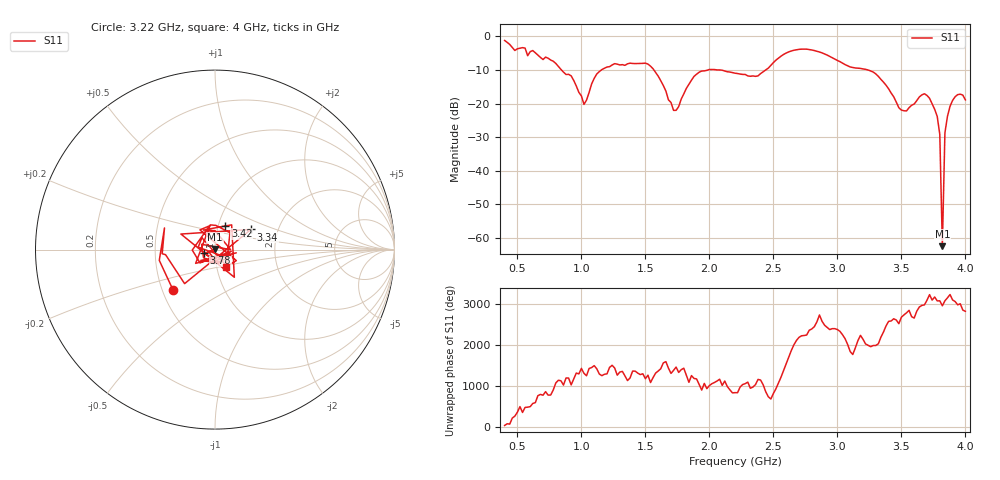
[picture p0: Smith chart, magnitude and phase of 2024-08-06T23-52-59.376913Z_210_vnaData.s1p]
!Created with skrf (http://scikit-rf.org).
# Hz S RI R 50.0
!freq ReS11 ImS11
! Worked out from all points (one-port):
!   181 points, 400 MHz to 4 GHz, reference 50 ohm
!   lowest |S11| = -62.5 dB at 3.82 GHz (marker M1), VSWR 1.00, Z = 50 + j0.0739 ohm
!   |S11| at or under -10 dB: 1.567 GHz to 1.987 GHz (420.4 MHz wide, 23.7 % of centre); 2.086 GHz to 2.438 GHz (352.4 MHz wide, 15.6 % of centre); 3.24 GHz to end of sweep (the widest 3 of 4)
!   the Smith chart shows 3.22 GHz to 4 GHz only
!   S11 on the Smith chart (normalised r, x): 3.22 GHz: 0.57, -0.28; 3.34 GHz: 1.45, +0.34; 3.42 GHz: 1.08, +0.29; 3.78 GHz: 0.88, -0.04; 4 GHz: 1.11, -0.21
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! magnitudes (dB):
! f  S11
! 400 MHz  -1.2
! 860 MHz  -10.6
! 920 MHz  -11.7
! 1.02 GHz  -20.2
! 1.12 GHz  -11.2
! 1.3 GHz  -8.5
! 1.52 GHz  -8.2
! 1.62 GHz  -13.2
! 1.72 GHz  -22.0
! 1.76 GHz  -20.9
! 1.92 GHz  -10.6
! 2.2 GHz  -10.9
! 2.38 GHz  -11.7
! 2.66 GHz  -4.1
! 3.1 GHz  -9.1
! 3.22 GHz  -9.8
! 3.34 GHz  -12.8
! 3.42 GHz  -16.9
! 3.5 GHz  -21.9
! 3.56 GHz  -21.2
! 3.68 GHz  -17.1
! 3.78 GHz  -23.8
! 3.8 GHz  -29.2
! 3.82 GHz  -62.5
! 3.84 GHz  -28.7
! 3.86 GHz  -23.8
! 3.92 GHz  -17.9
! 4 GHz  -18.9
